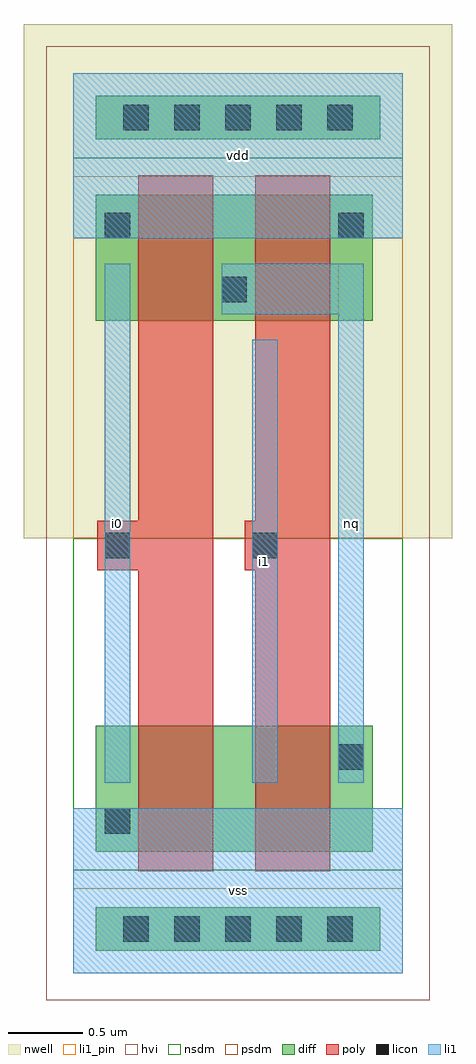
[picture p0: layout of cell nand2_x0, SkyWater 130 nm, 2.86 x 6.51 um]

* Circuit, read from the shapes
.subckt nand2_x0 i0 i1 nq vdd vss
XM1 n1 i0 vss VSUBS sky130_fd_pr__nfet_g5v0d10v5 w=0.84 l=0.5
XM2 nq i1 n1 VSUBS sky130_fd_pr__nfet_g5v0d10v5 w=0.84 l=0.5
XM3 nq i0 vdd n2 sky130_fd_pr__pfet_g5v0d10v5 w=0.84 l=0.5
XM4 vdd i1 nq n2 sky130_fd_pr__pfet_g5v0d10v5 w=0.84 l=0.5
.ends

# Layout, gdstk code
import gdstk
lib = gdstk.Library(unit=1e-6, precision=1e-09)
def R(c, l, rs):  # rectangles x0, y0, x1, y1
    for r in rs: c.add(gdstk.rectangle(r[:2], r[2:], *l))
def A(c, l, x, y, w, h, nx, ny, dx, dy):  # array of equal rectangles
    R(c, l, [(x+i*dx, y+j*dy, x+i*dx+w, y+j*dy+h) for i in range(nx) for j in range(ny)])
def P(c, l, *ps):  # polygons
    for p in ps: c.add(gdstk.Polygon(p, *l))
nwell = (64, 20)
diff = (65, 20)
poly = (66, 20)
licon = (66, 44)
li1_pin = (67, 16)
li1 = (67, 20)
hvi = (75, 20)
nsdm = (93, 44)
psdm = (94, 20)

nand2_x0 = lib.new_cell('nand2_x0')
R(nand2_x0, nwell, [(-0.33,2.9,2.53,6.33)])
R(nand2_x0, diff, [(0.15,0.15,2.05,0.44), (0.15,0.81,2,1.65), (0.15,4.35,2,5.19), (0.15,5.56,2.05,5.85)])
P(nand2_x0, poly, [(0.435,0.68),(0.435,2.685),(0.16,2.685),(0.16,3.015),(0.435,3.015),(0.435,5.32),(0.935,5.32),(0.935,0.68)],
  [(1.215,0.68),(1.215,2.685),(1.145,2.685),(1.145,3.015),(1.215,3.015),(1.215,5.32),(1.715,5.32),(1.715,0.68)])
A(nand2_x0, licon, 0.335, 0.21, 0.17, 0.17, 5, 2, 0.34, 5.41)
R(nand2_x0, licon, [(0.21,0.93,0.38,1.1), (1.77,1.355,1.94,1.525), (0.21,2.765,0.38,2.935), (1.195,2.765,1.365,2.935), (0.99,4.475,1.16,4.645), (0.21,4.9,0.38,5.07), (1.77,4.9,1.94,5.07)])
R(nand2_x0, li1_pin, [(0,0,2.2,1.1), (0.21,1.27,0.38,4.73), (1.195,1.27,1.365,4.225), (1.77,1.27,1.94,4.73), (0,4.9,2.2,6)])
R(nand2_x0, li1, [(0,0,2.2,1.1), (0.21,1.27,0.38,4.73), (1.195,1.27,1.365,4.225), (0,4.9,2.2,6)])
P(nand2_x0, li1, [(1.77,1.27),(1.77,4.395),(0.99,4.395),(0.99,4.73),(1.94,4.73),(1.94,1.27)])
R(nand2_x0, hvi, [(-0.18,-0.18,2.38,6.18)])
R(nand2_x0, nsdm, [(0,0.685,2.2,2.9), (0,5.435,2.2,6)])
R(nand2_x0, psdm, [(0,0,2.2,0.565), (0,2.9,2.2,5.315)])
nand2_x0.add(gdstk.Label('vss', (1.1,0.55), layer=67, texttype=16))
nand2_x0.add(gdstk.Label('vdd', (1.1,5.45), layer=67, texttype=16))
nand2_x0.add(gdstk.Label('i0', (0.295,3), layer=67, texttype=16))
nand2_x0.add(gdstk.Label('nq', (1.855,3), layer=67, texttype=16))
nand2_x0.add(gdstk.Label('i1', (1.28,2.748), layer=67, texttype=16))

lib.write_gds('nand2_x0.gds')
